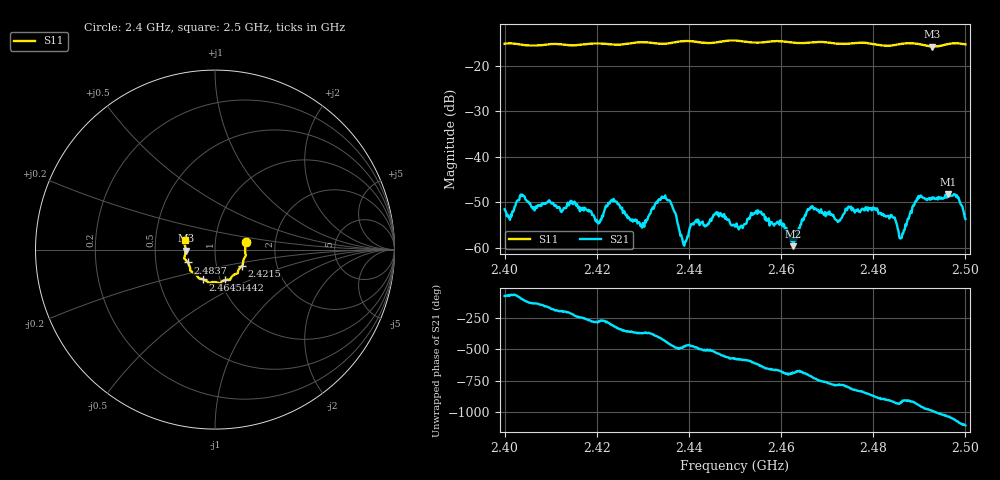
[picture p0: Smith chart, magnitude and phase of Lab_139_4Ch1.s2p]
# Hz S RI R 50
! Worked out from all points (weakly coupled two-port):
!   601 points, 2.4 GHz to 2.5 GHz, reference 50 ohm
!   highest |S21| = -48.17 dB at 2.4963 GHz (marker M1); lowest = -59.6 dB at 2.4627 GHz (marker M2)
!   lowest |S11| = -15.7 dB at 2.4928 GHz (marker M3), VSWR 1.39, Z = 36 - j0.373 ohm
!   |S11| at or under -10 dB: start of sweep to end of sweep
!   S12 and S22 are empty: the file has one direction only
!   S11 on the Smith chart (normalised r, x): 2.4 GHz: 1.41, +0.12; 2.4215 GHz: 1.33, -0.25; 2.4442 GHz: 1.05, -0.37; 2.4645 GHz: 0.83, -0.29; 2.4837 GHz: 0.73, -0.11; 2.5 GHz: 0.71, +0.07
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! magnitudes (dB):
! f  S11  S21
! 2.4 GHz  -15.1  -51.5
! 2.4038 GHz  -15.3  -48.3
! 2.4167 GHz  -15.3  -51.7
! 2.4215 GHz  -15.1  -52.3
! 2.4238 GHz  -15.3  -49.6
! 2.4298 GHz  -14.8  -55.6
! 2.4333 GHz  -15.1  -49.5
! 2.436 GHz  -15.0  -49.9
! 2.439 GHz  -14.5  -59.5
! 2.4442 GHz  -15.0  -54.7
! 2.45 GHz  -14.4  -55.3
! 2.4552 GHz  -14.9  -52.1
! 2.4627 GHz  -14.9  -59.6
! 2.4645 GHz  -15.0  -53.9
! 2.4667 GHz  -14.8  -50.9
! 2.4833 GHz  -15.6  -53.0
! 2.4837 GHz  -15.5  -53.2
! 2.4862 GHz  -15.1  -57.8
! 2.4897 GHz  -15.1  -49.3
! 2.4928 GHz  -15.7  -48.9
! 2.4963 GHz  -15.2  -48.2
! 2.5 GHz  -15.2  -53.6
